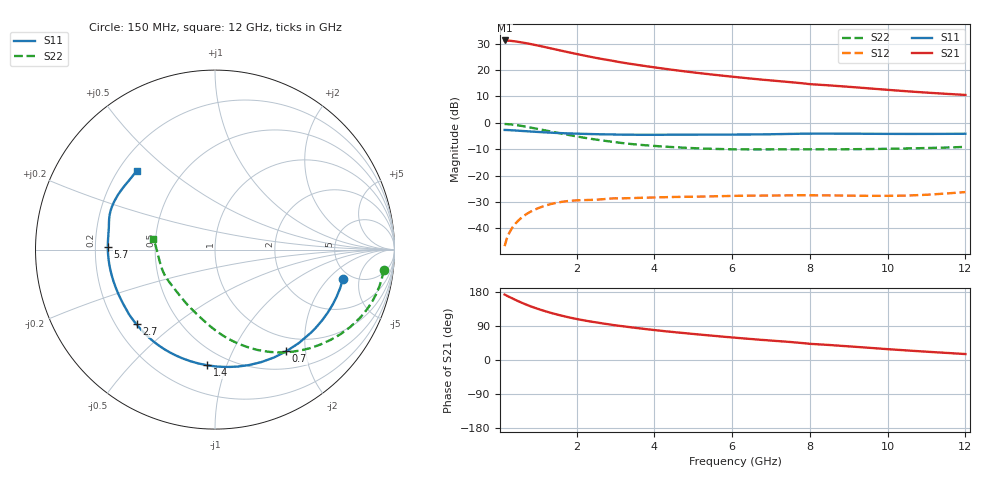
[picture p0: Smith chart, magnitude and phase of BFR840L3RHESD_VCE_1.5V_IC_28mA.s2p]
! Infineon Technologies  Discrete & RF Semiconductors
! BFR840L3RHESD
! VCE =  1.5 V,  IC =  28 mA
! Common Emitter S-Parameters:  Jun 2012
# GHz  S  MA  R  50
!  f  S11  S21  S12  S22
! GHz  MAG  ANG  MAG  ANG  MAG  ANG  MAG  ANG
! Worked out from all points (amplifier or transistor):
!   91 points, 150 MHz to 12 GHz, reference 50 ohm
!   highest |S21| = 31.2 dB at 150 MHz (marker M1)
!   |S21| within 3 dB of that: start of sweep to 1.338 GHz
!   unconditionally stable (mu >= 1): 6.273 GHz to end of sweep
!   at 1.3 GHz: K = 0.24, MSG = 29.6 dB, |S12| = -30.9 dB
!   at 4.3 GHz: K = 0.71, MSG = 24.3 dB, |S12| = -28.2 dB
!   at 12 GHz: K = 1.81, MAG = 13.2 dB, |S12| = -26.2 dB
!   S11 on the Smith chart (normalised r, x): 150 MHz: 4.26, -2.99; 700 MHz: 0.76, -1.65; 1.4 GHz: 0.39, -0.86; 2.7 GHz: 0.28, -0.37; 5.7 GHz: 0.25, +0.01; 12 GHz: 0.27, +0.39
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0.15  0.7311 -12.9  36.22 172.7  0.0046 88.3  0.9467 -6.9
0.3  0.7235 -25.2  35.64 165.0  0.009 79.2  0.9316 -15.4
0.45  0.7115 -37.0  34.52 157.6  0.0128 70.7  0.9036 -22.9
0.6  0.6996 -48.0  33.16 150.7  0.0163 64.1  0.8682 -29.8
0.7  0.692 -55.0  32.17 146.4  0.0184 60.7  0.8426 -34.1
0.9  0.6777 -67.7  30.12 138.6  0.0222 55.3  0.7904 -42.0
1  0.6707 -73.5  29.08 135.1  0.0239 53.1  0.7647 -45.8
1.2  0.6576 -84.2  27.02 128.6  0.027 49.3  0.7155 -52.6
1.4  0.6461 -93.8  25.05 122.7  0.0296 46.0  0.6695 -58.8
1.6  0.6366 -102.5  23.24 117.4  0.0316 42.9  0.6268 -64.4
1.8  0.6289 -110.3  21.59 112.6  0.033 40.0  0.5875 -69.6
2.2  0.6162 -123.6  18.73 104.4  0.0343 35.3  0.5206 -78.8
2.7  0.6039 -136.4  15.94 96.1  0.0358 31.9  0.458 -88.3
3  0.5993 -143.3  14.59 91.5  0.0371 30.1  0.4304 -93.2
3.4  0.5934 -151.0  13.02 86.3  0.0374 28.8  0.3968 -99.8
4.2  0.5925 -163.3  10.7 76.8  0.0388 27.6  0.3561 -111.4
5.7  0.5973 178.8  7.878 62.2  0.0407 25.6  0.318 -131.2
6.1  0.5984 174.9  7.336 58.7  0.0413 25.4  0.3142 -136.0
8  0.6219 157.7  5.391 42.7  0.0423 26.1  0.3142 -160.0
8.5  0.6223 154.3  5.104 39.6  0.0421 26.5  0.3144 -164.2
10.5  0.6149 141.3  3.949 25.2  0.0418 33.8  0.3263 179.1
12  0.6193 134.8  3.366 15.7  0.0487 39.5  0.3489 170.2
